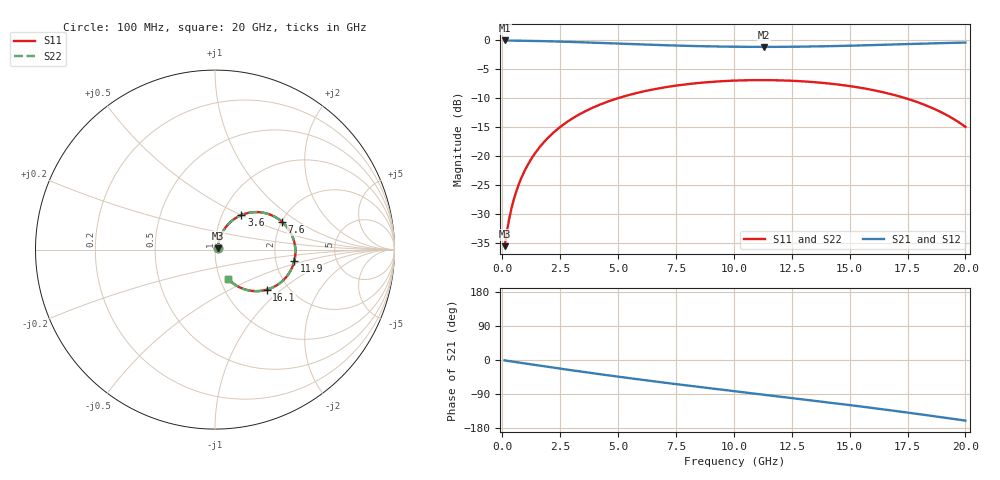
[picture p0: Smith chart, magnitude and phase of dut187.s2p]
! Touchstone file exported from HFSS 2026.1.0
!  File:  C:/ffzhzh/LocalFiles/Ansys_Project_Files/temp_train_TSV_RDL_187_1783057985_46780.aedt
!  Generated:  02:03:17 PM Jul  3, 2026
!  Design:  TSV_RDL
!  Project:  temp_train_TSV_RDL_187_1783057985_46780
! Variables:
!  h_bsmrdl = 5.97um
!  h_ox = 20um
!  h_rdl = 5um
!  h_sub = 78.2um
!  h_tmrdl = 2.71um
!  h_tsv = 78.2um
!  h_via = 3um
!  l_bsmrdl = 149.35um
!  l_sub = 2652.07um
!  l_tmrdl = 420.69um
!  m_sub = 200um
!  pitch = 42.59um
!  r_tsv = 4.27um
!  s_tmrdl = 10um
!  w_bsmrdl = 11.91um
!  w_sub = 500um
!  w_tmrdl = 28.51um
!  x_tsv_center1 = 434.945um
!  x_tsv_center2 = 596.205um
!  x_tsv_center3 = 1045.405um
!  x_tsv_center4 = 1206.665um
!  x_tsv_center5 = 1655.865um
!  x_tsv_center6 = 1817.125um
# GHz S MA R 50.000000
! Terminal data exported
! Port[1] = TM_RDL1_1_T1
! Port[2] = TM_RDL5_1_T1
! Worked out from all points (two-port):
!   200 points, 100 MHz to 20 GHz, reference 50 ohm
!   highest |S21| = -0.13 dB at 100 MHz (marker M1); lowest = -1.2 dB at 11.3 GHz (marker M2)
!   |S21| within 3 dB of the highest: start of sweep to end of sweep
!   lowest |S11| = -35.6 dB at 100 MHz (marker M3), VSWR 1.03, Z = 51.5 + j0.832 ohm
!   |S11| at or under -10 dB: start of sweep to 5.065 GHz; 17.34 GHz to end of sweep
!   |S22| runs from -35.6 to -7.0 dB; largest |S21 - S12| = 2.3e-14
!   S11 on the Smith chart (normalised r, x): 100 MHz: 1.03, +0.02; 3.6 GHz: 1.23, +0.50; 7.6 GHz: 2.01, +0.74; 11.9 GHz: 2.55, -0.39; 16.1 GHz: 1.56, -0.80; 20 GHz: 1.09, -0.36
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0.1  0.01656 29.2  0.9857 -1.0  0.9857 -1.0  0.01656 29.2
! Gamma 0 0 0 0
! Port Impedance 50 0 50 0
0.3  0.02863 54.2  0.9841 -2.9  0.9841 -2.9  0.02863 54.2
0.5  0.04213 61.9  0.9826 -4.7  0.9826 -4.7  0.04213 61.9
0.8  0.06259 66.1  0.9806 -7.5  0.9806 -7.5  0.06259 66.1
1.2  0.0901 67.1  0.9777 -11.1  0.9777 -11.1  0.0901 67.1
1.7  0.1242 65.5  0.9733 -15.6  0.9733 -15.6  0.1242 65.5
2.2  0.1574 62.7  0.9678 -20.1  0.9678 -20.1  0.1574 62.7
2.8  0.1954 58.5  0.96 -25.4  0.96 -25.4  0.1954 58.5
3.5  0.2368 53.3  0.9498 -31.4  0.9498 -31.4  0.2368 53.3
3.6  0.2425 52.6  0.9483 -32.3  0.9483 -32.3  0.2425 52.6
5  0.3133 41.9  0.9261 -44.0  0.9261 -44.0  0.3133 41.9
6.8  0.3819 28.3  0.8994 -58.2  0.8994 -58.2  0.3819 28.3
7.6  0.4043 22.5  0.8894 -64.3  0.8894 -64.3  0.4043 22.5
10.1  0.4445 4.7  0.8698 -82.8  0.8698 -82.8  0.4445 4.7
11.3  0.4484 -3.6  0.8675 -91.5  0.8675 -91.5  0.4484 -3.6
11.9  0.4467 -7.8  0.8681 -95.9  0.8681 -95.9  0.4467 -7.8
13.4  0.4317 -18.3  0.8744 -106.9  0.8744 -106.9  0.4317 -18.3
14.8  0.4035 -28.3  0.8858 -117.4  0.8858 -117.4  0.4035 -28.3
16.1  0.3647 -37.8  0.9001 -127.5  0.9001 -127.5  0.3647 -37.8
16.7  0.3427 -42.2  0.9074 -132.2  0.9074 -132.2  0.3427 -42.2
18.5  0.2611 -55.5  0.9297 -147.0  0.9297 -147.0  0.2611 -55.5
20  0.1773 -65.9  0.9453 -159.9  0.9453 -159.9  0.1773 -65.9
